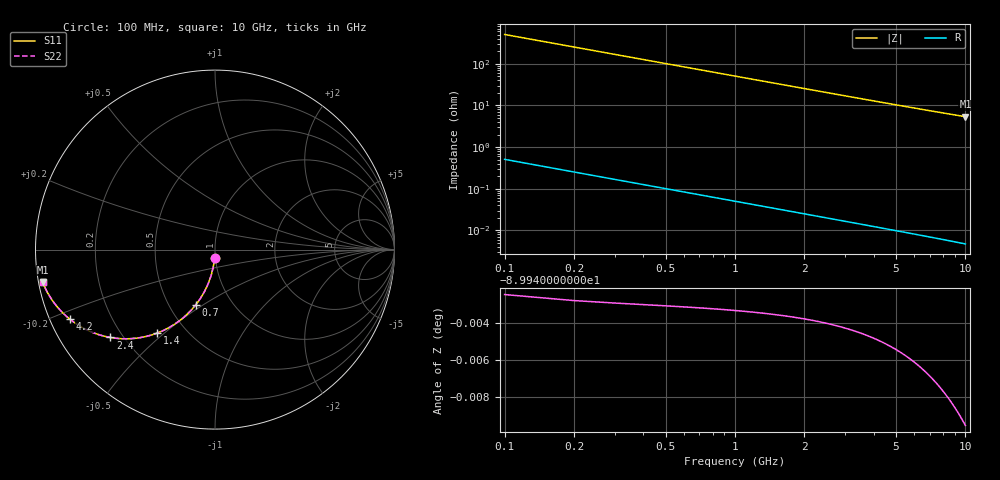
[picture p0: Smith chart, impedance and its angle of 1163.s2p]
# Hz S RI R 50.00
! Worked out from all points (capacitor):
!   100 points, 100 MHz to 10 GHz, reference 50 ohm
!   read as one part in shunt: C = 3.15 pF near 100 MHz
!   lowest |Z| = 5.37 ohm at 10 GHz (marker M1)
!   S11 on the Smith chart (normalised r, x): 100 MHz: 0.99, -0.10; 700 MHz: 0.68, -0.47; 1.4 GHz: 0.35, -0.47; 2.4 GHz: 0.15, -0.36; 4.2 GHz: 0.06, -0.23; 10 GHz: 0.01, -0.09
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1e8  -0.00247 -0.0492  0.9975 -0.0494  0.9975 -0.0494  -0.00247 -0.0492
2e8  -0.00976 -0.0976  0.9902 -0.0981  0.9902 -0.0981  -0.00976 -0.0976
3e8  -0.0216 -0.1447  0.9783 -0.1454  0.9783 -0.1454  -0.0216 -0.1447
4e8  -0.0378 -0.1897  0.9622 -0.1907  0.9622 -0.1907  -0.0378 -0.1897
5e8  -0.0577 -0.2321  0.9422 -0.2333  0.9422 -0.2333  -0.0577 -0.2321
6e8  -0.081 -0.2716  0.919 -0.2731  0.919 -0.2731  -0.081 -0.2716
7e8  -0.107 -0.3078  0.8929 -0.3095  0.8929 -0.3095  -0.107 -0.3078
8e8  -0.1353 -0.3406  0.8647 -0.3425  0.8647 -0.3425  -0.1353 -0.3406
1e9  -0.1962 -0.3954  0.8038 -0.3979  0.8038 -0.3979  -0.1962 -0.3954
1.2e9  -0.2599 -0.4366  0.7401 -0.4395  0.7401 -0.4395  -0.2599 -0.4366
1.4e9  -0.3231 -0.4655  0.6768 -0.4689  0.6768 -0.4689  -0.3231 -0.4655
1.8e9  -0.4406 -0.4938  0.5594 -0.4981  0.5594 -0.4981  -0.4406 -0.4938
2.1e9  -0.517 -0.4966  0.483 -0.5018  0.483 -0.5018  -0.517 -0.4966
2.4e9  -0.5827 -0.4897  0.4173 -0.4955  0.4173 -0.4955  -0.5827 -0.4897
2.9e9  -0.6705 -0.466  0.3295 -0.4731  0.3295 -0.4731  -0.6705 -0.466
3.4e9  -0.7363 -0.4359  0.2636 -0.4443  0.2636 -0.4443  -0.7363 -0.4359
4.2e9  -0.8096 -0.3868  0.1903 -0.3973  0.1903 -0.3973  -0.8096 -0.3868
5.1e9  -0.8623 -0.3376  0.1376 -0.3504  0.1376 -0.3504  -0.8623 -0.3376
5.8e9  -0.8901 -0.3048  0.1097 -0.3195  0.1097 -0.3195  -0.8901 -0.3048
6.7e9  -0.9154 -0.2692  0.0844 -0.2862  0.0844 -0.2862  -0.9154 -0.2692
8.4e9  -0.9446 -0.2171  0.0551 -0.2387  0.0551 -0.2387  -0.9446 -0.2171
1e10  -0.9605 -0.1808  0.0391 -0.2068  0.0391 -0.2068  -0.9605 -0.1808
